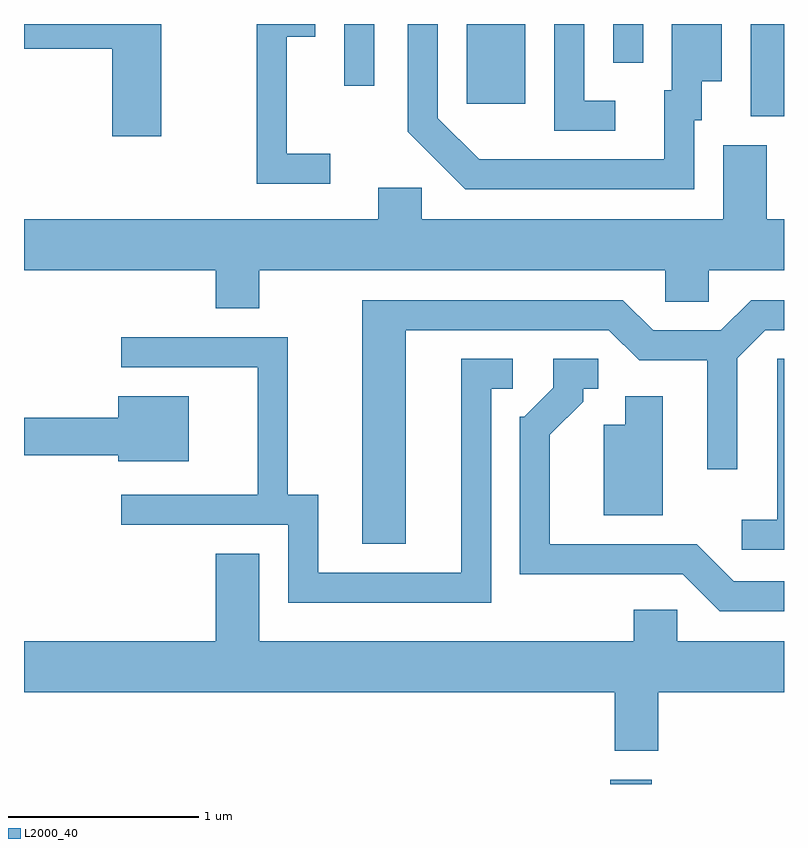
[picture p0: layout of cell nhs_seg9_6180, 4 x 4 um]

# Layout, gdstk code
import gdstk
lib = gdstk.Library(unit=1e-6, precision=1e-09)
def R(c, l, rs):  # rectangles x0, y0, x1, y1
    for r in rs: c.add(gdstk.rectangle(r[:2], r[2:], *l))
def P(c, l, *ps):  # polygons
    for p in ps: c.add(gdstk.Polygon(p, *l))
L2000_40 = (2000, 40)

nhs_seg9_6180 = lib.new_cell('nhs_seg9_6180')
R(nhs_seg9_6180, L2000_40, [(370.696,2002.432,370.914,2002.454), (371.436,2005.946,371.611,2006.432), (369.941,2006.011,370.249,2006.432), (369.296,2006.108,369.454,2006.432), (370.711,2006.228,370.869,2006.432)])
P(nhs_seg9_6180, L2000_40, [(371.139,2005.926),(371.179,2005.926),(371.179,2006.131),(371.284,2006.131),(371.284,2006.432),(371.021,2006.432),(371.021,2006.084),(370.981,2006.084),(370.981,2005.719),(370.007,2005.719),(369.789,2005.937),(369.789,2006.432),(369.631,2006.432),(369.631,2005.864),(369.934,2005.561),(371.139,2005.561)],
  [(370.723,2006.029),(370.559,2006.029),(370.559,2006.432),(370.401,2006.432),(370.401,2005.871),(370.723,2005.871)],
  [(368.334,2006.432),(367.611,2006.432),(367.611,2006.301),(368.076,2006.301),(368.076,2005.841),(368.334,2005.841)],
  [(369.223,2005.749),(368.994,2005.749),(368.994,2006.366),(369.144,2006.366),(369.144,2006.432),(368.836,2006.432),(368.836,2005.591),(369.223,2005.591)],
  [(368.849,2005.136),(370.986,2005.136),(370.986,2004.971),(371.214,2004.971),(371.214,2005.136),(371.611,2005.136),(371.611,2005.404),(371.519,2005.404),(371.519,2005.794),(371.291,2005.794),(371.291,2005.404),(369.704,2005.404),(369.704,2005.569),(369.476,2005.569),(369.476,2005.404),(367.611,2005.404),(367.611,2005.136),(368.621,2005.136),(368.621,2004.936),(368.849,2004.936)],
  [(369.619,2004.821),(370.689,2004.821),(370.849,2004.661),(371.206,2004.661),(371.206,2004.088),(371.364,2004.088),(371.364,2004.674),(371.512,2004.821),(371.611,2004.821),(371.611,2004.979),(371.439,2004.979),(371.279,2004.819),(370.922,2004.819),(370.762,2004.979),(369.391,2004.979),(369.391,2003.696),(369.619,2003.696)],
  [(370.069,2004.511),(370.183,2004.511),(370.183,2004.669),(369.911,2004.669),(369.911,2003.544),(369.159,2003.544),(369.159,2003.954),(368.999,2003.954),(368.999,2004.784),(368.123,2004.784),(368.123,2004.626),(368.841,2004.626),(368.841,2003.954),(368.123,2003.954),(368.123,2003.796),(369.001,2003.796),(369.001,2003.386),(370.069,2003.386)],
  [(371.611,2004.669),(371.576,2004.669),(371.576,2003.824),(371.388,2003.824),(371.388,2003.666),(371.611,2003.666)],
  [(371.611,2003.499),(371.347,2003.499),(371.152,2003.694),(370.379,2003.694),(370.379,2004.269),(370.554,2004.444),(370.554,2004.511),(370.633,2004.511),(370.633,2004.669),(370.396,2004.669),(370.396,2004.517),(370.244,2004.364),(370.221,2004.364),(370.221,2003.536),(371.079,2003.536),(371.274,2003.341),(371.611,2003.341)],
  [(370.974,2004.474),(370.776,2004.474),(370.776,2004.324),(370.661,2004.324),(370.661,2003.846),(370.974,2003.846)],
  [(368.479,2004.474),(368.106,2004.474),(368.106,2004.359),(367.611,2004.359),(367.611,2004.161),(368.106,2004.161),(368.106,2004.131),(368.479,2004.131)],
  [(370.949,2002.916),(371.611,2002.916),(371.611,2003.184),(371.049,2003.184),(371.049,2003.349),(370.821,2003.349),(370.821,2003.184),(368.849,2003.184),(368.849,2003.644),(368.621,2003.644),(368.621,2003.184),(367.611,2003.184),(367.611,2002.916),(370.721,2002.916),(370.721,2002.606),(370.949,2002.606)])

lib.write_gds('nhs_seg9_6180.gds')
